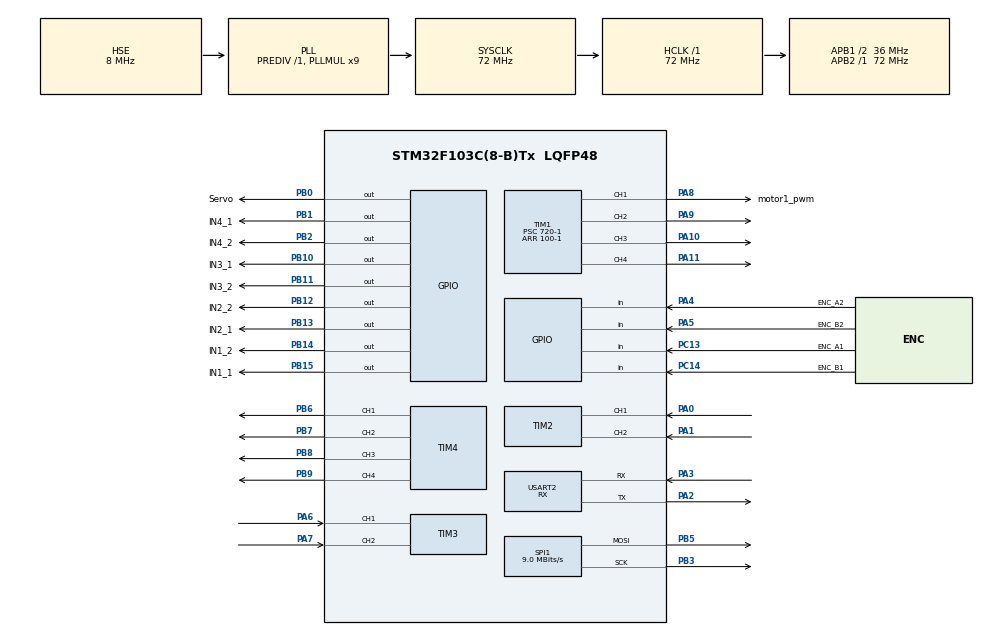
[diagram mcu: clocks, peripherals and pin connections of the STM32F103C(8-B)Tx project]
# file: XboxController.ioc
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Mcu.Family=STM32F1
Mcu.Name=STM32F103C(8-B)Tx
Mcu.Package=LQFP48
NVIC.PriorityGroup=NVIC_PRIORITYGROUP_4
PA0-WKUP.Signal=S_TIM2_CH1_ETR
PA1.Signal=S_TIM2_CH2
PA10.Signal=S_TIM1_CH3
PA11.Signal=S_TIM1_CH4
PA13.Mode=Serial_Wire
PA13.Signal=SYS_JTMS-SWDIO
PA14.Mode=Serial_Wire
PA14.Signal=SYS_JTCK-SWCLK
PA2.Mode=Asynchronous
PA2.Signal=USART2_TX
PA3.Mode=Asynchronous
PA3.Signal=USART2_RX
PA4.GPIO_Label=ENC_A2
PA4.Signal=GPIO_Input
PA5.GPIO_Label=ENC_B2
PA5.Signal=GPIO_Input
PA6.Signal=S_TIM3_CH1
PA7.Signal=S_TIM3_CH2
PA8.GPIO_Label=motor1_pwm
PA8.GPIO_Speed=GPIO_SPEED_FREQ_MEDIUM
PA8.Signal=S_TIM1_CH1
PA9.Signal=S_TIM1_CH2
PB0.GPIO_Label=Servo
PB0.Signal=GPIO_Output
PB1.GPIO_Label=IN4_1
PB1.Signal=GPIO_Output
PB10.GPIO_Label=IN3_1
PB10.Signal=GPIO_Output
PB11.GPIO_Label=IN3_2
PB11.Signal=GPIO_Output
PB12.GPIO_Label=IN2_2
PB12.Signal=GPIO_Output
PB13.GPIO_Label=IN2_1
PB13.Signal=GPIO_Output
PB14.GPIO_Label=IN1_2
PB14.GPIO_PuPd=GPIO_PULLDOWN
PB14.PinState=GPIO_PIN_SET
PB14.Signal=GPIO_Output
PB15.GPIO_Label=IN1_1
PB15.GPIO_PuPd=GPIO_PULLUP
PB15.Signal=GPIO_Output
PB2.GPIO_Label=IN4_2
PB2.Signal=GPIO_Output
PB3.Mode=TX_Only_Simplex_Unidirect_Master
PB3.Signal=SPI1_SCK
PB5.Mode=TX_Only_Simplex_Unidirect_Master
PB5.Signal=SPI1_MOSI
PB6.Signal=S_TIM4_CH1
PB7.Signal=S_TIM4_CH2
PB8.Signal=S_TIM4_CH3
PB9.Signal=S_TIM4_CH4
PC13-TAMPER-RTC.GPIO_Label=ENC_A1
PC13-TAMPER-RTC.Signal=GPIO_Input
PC14-OSC32_IN.GPIO_Label=ENC_B1
PC14-OSC32_IN.Signal=GPIO_Input
PD0-OSC_IN.Mode=HSE-External-Oscillator
PD0-OSC_IN.Signal=RCC_OSC_IN
PD1-OSC_OUT.Mode=HSE-External-Oscillator
PD1-OSC_OUT.Signal=RCC_OSC_OUT
ProjectManager.HeapSize=0x200
ProjectManager.StackSize=0x400
ProjectManager.TargetToolchain=MDK-ARM V5
RCC.AHBFreq_Value=72000000
RCC.APB1CLKDivider=RCC_HCLK_DIV2
RCC.APB1Freq_Value=36000000
RCC.APB1TimFreq_Value=72000000
RCC.APB2Freq_Value=72000000
RCC.APB2TimFreq_Value=72000000
RCC.HCLKFreq_Value=72000000
RCC.PLLMUL=RCC_PLL_MUL9
RCC.PLLSourceVirtual=RCC_PLLSOURCE_HSE
RCC.SYSCLKFreq_VALUE=72000000
RCC.SYSCLKSource=RCC_SYSCLKSOURCE_PLLCLK
RCC.USBFreq_Value=72000000
SH.S_TIM1_CH1.0=TIM1_CH1,PWM Generation1 CH1
SH.S_TIM1_CH2.0=TIM1_CH2,PWM Generation2 CH2
SH.S_TIM1_CH3.0=TIM1_CH3,PWM Generation3 CH3
SH.S_TIM1_CH4.0=TIM1_CH4,PWM Generation4 CH4
SH.S_TIM2_CH1_ETR.0=TIM2_CH1,Encoder_Interface
SH.S_TIM2_CH2.0=TIM2_CH2,Encoder_Interface
SH.S_TIM3_CH1.0=TIM3_CH1,Encoder_Interface
SH.S_TIM3_CH2.0=TIM3_CH2,Encoder_Interface
SH.S_TIM4_CH1.0=TIM4_CH1,PWM Generation1 CH1
SH.S_TIM4_CH2.0=TIM4_CH2,PWM Generation2 CH2
SH.S_TIM4_CH3.0=TIM4_CH3,PWM Generation3 CH3
SH.S_TIM4_CH4.0=TIM4_CH4,PWM Generation4 CH4
SPI1.BaudRatePrescaler=SPI_BAUDRATEPRESCALER_8
SPI1.CalculateBaudRate=9.0 MBits/s
SPI1.Direction=SPI_DIRECTION_2LINES
SPI1.Mode=SPI_MODE_MASTER
SPI1.VirtualType=VM_MASTER
TIM1.AutoReloadPreload=TIM_AUTORELOAD_PRELOAD_ENABLE
TIM1.Channel-PWM\ Generation1\ CH1=TIM_CHANNEL_1
TIM1.Channel-PWM\ Generation2\ CH2=TIM_CHANNEL_2
TIM1.Channel-PWM\ Generation3\ CH3=TIM_CHANNEL_3
TIM1.Channel-PWM\ Generation4\ CH4=TIM_CHANNEL_4
TIM1.Period=100-1
TIM1.Prescaler=720-1
TIM4.Channel-PWM\ Generation1\ CH1=TIM_CHANNEL_1
TIM4.Channel-PWM\ Generation2\ CH2=TIM_CHANNEL_2
TIM4.Channel-PWM\ Generation3\ CH3=TIM_CHANNEL_3
TIM4.Channel-PWM\ Generation4\ CH4=TIM_CHANNEL_4
USART2.Mode=MODE_RX
USART2.VirtualMode=VM_ASYNC
VP_TIM1_VS_ClockSourceINT.Mode=Internal
VP_TIM4_VS_ClockSourceINT.Mode=Internal
board=custom

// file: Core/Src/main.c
/* USER CODE BEGIN Header */
/**
 ******************************************************************************
 * @file           : main.c
 * @brief          : Main program body
 ******************************************************************************
 * @attention
 *
 * Copyright (c) 2023 STMicroelectronics.
 * All rights reserved.
 *
 * This software is licensed under terms that can be found in the LICENSE file
 * in the root directory of this software component.
 * If no LICENSE file comes with this software, it is provided AS-IS.
 *
 ******************************************************************************
 */
/* USER CODE END Header */
#include "main.h"
#include "spi.h"
#include "tim.h"
#include "usart.h"
#include "gpio.h"

/* USER CODE BEGIN Includes */
#include "bsp_usart.h"
#include <stdio.h>
#include "pid.h"
#include "motor.h"
/* USER CODE END Includes */

/* USER CODE BEGIN PV */

float setspeed = 1000;
float kp = 5;
float ki = 0.8;
float kd = 0;

float kp_ang_1 = 5.0f;
float ki_ang_1 = 0;
float kd_ang_1 = 0;

float kp_ang_2 = 17.0f;
float ki_ang_2 = 0;
float kd_ang_2 = 0;

float set_round1 = 3; //????
float set_round2 = 5; //????

float angle_setspeed_1;
float angle_setspeed_2;

int real_speed2;

/* USER CODE END PV */

void SystemClock_Config(void);

int main(void)
{

  /* MCU Configuration--------------------------------------------------------*/

  /* Reset of all peripherals, Initializes the Flash interface and the Systick. */
  HAL_Init();

  /* Configure the system clock */
  SystemClock_Config();

  /* Initialize all configured peripherals */
  MX_GPIO_Init();
  MX_TIM1_Init();
  MX_TIM3_Init();
  MX_TIM4_Init();
  MX_SPI1_Init();
  MX_TIM2_Init();
  MX_USART2_UART_Init();
  /* USER CODE BEGIN 2 */
  // Rx_Init();
  HAL_TIM_Base_Start_IT(&htim2);
  // CAN??????

  // PID?????
  // motor1
  // 初始�? PID 控制器参�?
  pid_init(&pid_angle[0], // Motor 1 Angle PID
           1500,          // Max Output Limit
           0,             // Integral Limit
           5,             // Deadband
           0,             // Max Error
           5.0f,          // Proportional Coefficient
           0.0f,          // Integral Coefficient
           0.0f);         // Derivative Coefficient

  pid_init(&pid_motor[0], // Motor 1 Motor PID
           8000,          // Max Output Limit
           3000,          // Integral Limit
           0,             // Deadband
           0,             // Max Error
           5.0f,          // Proportional Coefficient
           0.8f,          // Integral Coefficient
           0.0f);         // Derivative Coefficient
  // motor2
  pid_init(&pid_angle[1], // Motor 2 Angle PID
           2000,          // Max Output Limit
           0,             // Integral Limit
           5,             // Deadband
           0,             // Max Error
           17.0f,         // Proportional Coefficient
           0.0f,          // Integral Coefficient
           0.0f);         // Derivative Coefficient

  pid_init(&pid_motor[1], // Motor 2 Motor PID
           8000,          // Max Output Limit
           3000,          // Integral Limit
           0,             // Deadband
           0,             // Max Error
           4.0f,          // Proportional Coefficient
           0.02f,         // Integral Coefficient
           1.5f);         // Derivative Coefficient

  /* USER CODE END 2 */

  /* Infinite loop */
  while (1)
  {

    /* USER CODE BEGIN 3 */
    // Receive the Receive End flag
    // 接收完成标志

    if (recv_end_flag == 1 && rx_len == DATA_FRAME_LENGTH)
    {
      Data_Resolve(&xbox_t);

      if (err == 1)
      {
        printf("The data length is wrong!\n");
      }

      // Clear the count
      //  清除计数
      rx_len = 0;
      // Clear the Receive End flag
      //  清除接收结束标志
      recv_end_flag = 0;

      // Clear the receive cache to set each byte in the receive buffer to 0
      // 清除接收缓存,将接收缓存区�??的每�??字节都�?�置�??0
      memset(rx_buffer, 0, rx_len);
    }
    // Turn DMA reception back on
    //  重新打开DMA接收
    HAL_UART_Receive_DMA(&c_huart, rx_buffer, BUF_SIZE);
  }
  /* USER CODE END 3 */
}

void SystemClock_Config(void)
{
  RCC_OscInitTypeDef RCC_OscInitStruct = {0};
  RCC_ClkInitTypeDef RCC_ClkInitStruct = {0};

  /** Initializes the RCC Oscillators according to the specified parameters
  * in the RCC_OscInitTypeDef structure.
  */
  RCC_OscInitStruct.OscillatorType = RCC_OSCILLATORTYPE_HSE;
  RCC_OscInitStruct.HSEState = RCC_HSE_ON;
  RCC_OscInitStruct.HSEPredivValue = RCC_HSE_PREDIV_DIV1;
  RCC_OscInitStruct.HSIState = RCC_HSI_ON;
  RCC_OscInitStruct.PLL.PLLState = RCC_PLL_ON;
  RCC_OscInitStruct.PLL.PLLSource = RCC_PLLSOURCE_HSE;
  RCC_OscInitStruct.PLL.PLLMUL = RCC_PLL_MUL9;
  if (HAL_RCC_OscConfig(&RCC_OscInitStruct) != HAL_OK)
  {
    Error_Handler();
  }

  /** Initializes the CPU, AHB and APB buses clocks
  */
  RCC_ClkInitStruct.ClockType = RCC_CLOCKTYPE_HCLK|RCC_CLOCKTYPE_SYSCLK
                              |RCC_CLOCKTYPE_PCLK1|RCC_CLOCKTYPE_PCLK2;
  RCC_ClkInitStruct.SYSCLKSource = RCC_SYSCLKSOURCE_PLLCLK;
  RCC_ClkInitStruct.AHBCLKDivider = RCC_SYSCLK_DIV1;
  RCC_ClkInitStruct.APB1CLKDivider = RCC_HCLK_DIV2;
  RCC_ClkInitStruct.APB2CLKDivider = RCC_HCLK_DIV1;

  if (HAL_RCC_ClockConfig(&RCC_ClkInitStruct, FLASH_LATENCY_2) != HAL_OK)
  {
    Error_Handler();
  }
}

void Error_Handler(void)
{
  __disable_irq();
  while (1)
  {
  }
}
